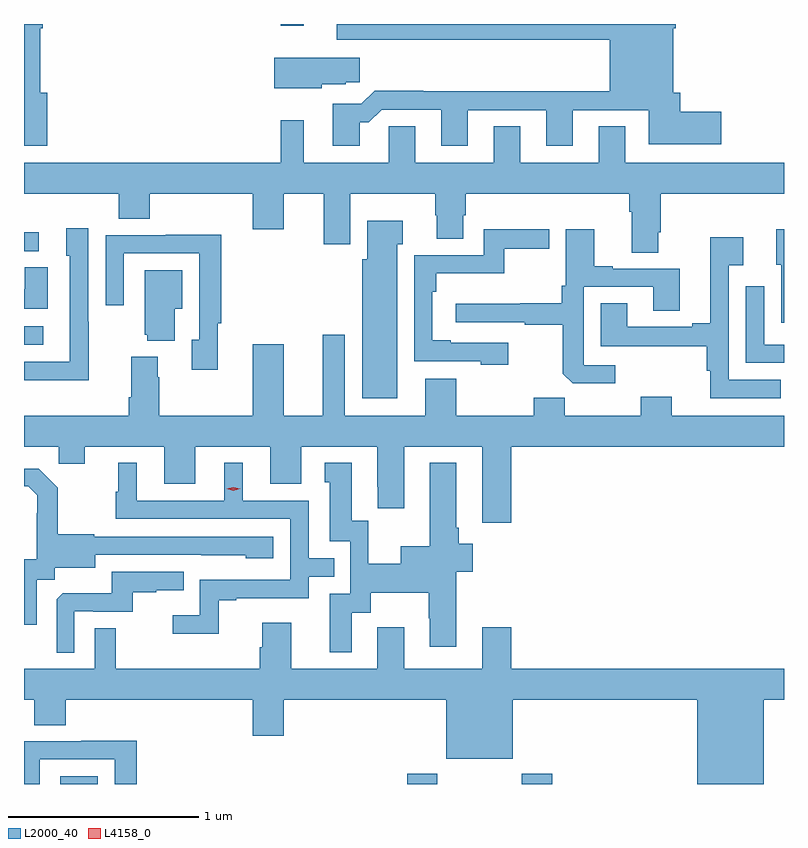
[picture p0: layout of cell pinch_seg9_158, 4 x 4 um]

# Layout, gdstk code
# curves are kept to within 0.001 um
import gdstk
lib = gdstk.Library(unit=1e-6, precision=1e-09)
def R(c, l, rs):  # rectangles x0, y0, x1, y1
    for r in rs: c.add(gdstk.rectangle(r[:2], r[2:], *l))
def P(c, l, *ps):  # polygons
    for p in ps: c.add(gdstk.Polygon(p, *l))
L2000_40 = (2000, 40)
L4158_0 = (4158, 0)

pinch_seg9_158 = lib.new_cell('pinch_seg9_158')
R(pinch_seg9_158, L2000_40, [(715.445,1210.629,715.642,1210.669), (717.269,1210.629,717.429,1210.684), (717.874,1210.629,718.034,1210.684), (715.253,1212.942,715.354,1213.038), (715.253,1213.434,715.33,1213.532), (716.604,1214.619,716.725,1214.629)])
P(pinch_seg9_158, L2000_40, [(717.019,1214.111),(717.068,1214.111),(717.135,1214.178),(717.449,1214.178),(717.449,1213.989),(717.589,1213.989),(717.589,1214.175),(718.001,1214.175),(718.001,1213.989),(718.141,1213.989),(718.141,1214.175),(718.541,1214.175),(718.541,1213.997),(718.924,1213.997),(718.924,1214.168),(718.706,1214.168),(718.706,1214.268),(718.669,1214.268),(718.669,1214.606),(718.682,1214.606),(718.682,1214.629),(716.9,1214.629),(716.9,1214.546),(718.337,1214.546),(718.337,1214.276),(717.353,1214.276),(717.353,1214.279),(717.098,1214.279),(717.027,1214.208),(716.879,1214.208),(716.879,1213.989),(717.019,1213.989)],
  [(715.376,1214.268),(715.339,1214.268),(715.339,1214.606),(715.352,1214.606),(715.352,1214.629),(715.253,1214.629),(715.253,1213.989),(715.376,1213.989)],
  [(716.82,1214.312),(716.946,1214.312),(716.946,1214.323),(717.019,1214.323),(717.019,1214.452),(716.57,1214.452),(716.57,1214.291),(716.82,1214.291)],
  [(718.439,1213.64),(718.451,1213.64),(718.451,1213.426),(718.591,1213.426),(718.591,1213.534),(718.604,1213.534),(718.604,1213.736),(719.253,1213.736),(719.253,1213.9),(718.417,1213.9),(718.417,1214.09),(718.277,1214.09),(718.277,1213.9),(717.865,1213.9),(717.865,1214.09),(717.725,1214.09),(717.725,1213.9),(717.313,1213.9),(717.313,1214.09),(717.174,1214.09),(717.174,1213.9),(716.725,1213.9),(716.725,1214.122),(716.604,1214.122),(716.604,1213.9),(715.253,1213.9),(715.253,1213.736),(715.751,1213.736),(715.751,1213.603),(715.916,1213.603),(715.916,1213.736),(716.456,1213.736),(716.456,1213.548),(716.62,1213.548),(716.62,1213.736),(716.831,1213.736),(716.831,1213.47),(716.971,1213.47),(716.971,1213.736),(717.418,1213.736),(717.418,1213.623),(717.425,1213.623),(717.425,1213.498),(717.565,1213.498),(717.565,1213.623),(717.578,1213.623),(717.578,1213.736),(718.439,1213.736)],
  [(717.217,1213.469),(717.247,1213.469),(717.247,1213.594),(717.059,1213.594),(717.059,1213.392),(717.032,1213.392),(717.032,1212.659),(717.217,1212.659)],
  [(715.593,1213.061),(715.59,1213.061),(715.59,1213.555),(715.475,1213.555),(715.475,1213.41),(715.494,1213.41),(715.494,1212.852),(715.253,1212.852),(715.253,1212.755),(715.593,1212.755)],
  [(717.802,1212.951),(717.499,1212.951),(717.499,1212.964),(717.402,1212.964),(717.402,1213.22),(717.422,1213.22),(717.422,1213.316),(717.781,1213.316),(717.781,1213.447),(718.018,1213.447),(718.018,1213.55),(717.672,1213.55),(717.672,1213.413),(717.306,1213.413),(717.306,1212.855),(717.657,1212.855),(717.657,1212.836),(717.802,1212.836)],
  [(719.253,1213.55),(719.213,1213.55),(719.213,1213.362),(719.238,1213.362),(719.238,1213.056),(719.253,1213.056)],
  [(718.366,1212.834),(718.2,1212.834),(718.2,1213.245),(718.565,1213.245),(718.565,1213.12),(718.705,1213.12),(718.705,1213.341),(718.351,1213.341),(718.351,1213.354),(718.255,1213.354),(718.255,1213.549),(718.104,1213.549),(718.104,1213.252),(718.084,1213.252),(718.084,1213.16),(717.865,1213.16),(717.865,1213.156),(717.525,1213.156),(717.525,1213.059),(717.889,1213.059),(717.889,1213.047),(718.089,1213.047),(718.089,1212.789),(718.141,1212.738),(718.366,1212.738)],
  [(716.273,1213.054),(716.291,1213.054),(716.291,1213.52),(715.999,1213.52),(715.999,1213.518),(715.683,1213.518),(715.683,1213.149),(715.779,1213.149),(715.779,1213.422),(716.175,1213.422),(716.175,1212.966),(716.135,1212.966),(716.135,1212.81),(716.273,1212.81)],
  [(719.235,1212.756),(718.962,1212.756),(718.962,1213.358),(719.038,1213.358),(719.038,1213.507),(718.865,1213.507),(718.865,1213.055),(718.769,1213.055),(718.769,1213.035),(718.429,1213.035),(718.429,1213.16),(718.289,1213.16),(718.289,1212.934),(718.846,1212.934),(718.846,1212.803),(718.865,1212.803),(718.865,1212.66),(719.235,1212.66)],
  [(715.378,1213.349),(715.257,1213.349),(715.257,1213.234),(715.253,1213.234),(715.253,1213.13),(715.378,1213.13)],
  [(716.047,1213.13),(716.086,1213.13),(716.086,1213.333),(715.889,1213.333),(715.889,1212.993),(715.901,1212.993),(715.901,1212.962),(716.047,1212.962)],
  [(719.253,1212.942),(719.148,1212.942),(719.148,1213.249),(719.052,1213.249),(719.052,1212.846),(719.253,1212.846)],
  [(717.818,1212.404),(719.253,1212.404),(719.253,1212.568),(718.663,1212.568),(718.663,1212.667),(718.499,1212.667),(718.499,1212.568),(718.099,1212.568),(718.099,1212.661),(717.935,1212.661),(717.935,1212.568),(717.529,1212.568),(717.529,1212.763),(717.365,1212.763),(717.365,1212.568),(716.941,1212.568),(716.941,1212.994),(716.825,1212.994),(716.825,1212.568),(716.62,1212.568),(716.62,1212.943),(716.456,1212.943),(716.456,1212.568),(715.965,1212.568),(715.965,1212.77),(715.957,1212.77),(715.957,1212.877),(715.817,1212.877),(715.817,1212.664),(715.805,1212.664),(715.805,1212.568),(715.253,1212.568),(715.253,1212.404),(715.435,1212.404),(715.435,1212.314),(715.573,1212.314),(715.573,1212.404),(715.991,1212.404),(715.991,1212.21),(716.155,1212.21),(716.155,1212.404),(716.549,1212.404),(716.549,1212.21),(716.713,1212.21),(716.713,1212.404),(717.113,1212.404),(717.113,1212.193),(717.114,1212.193),(717.114,1212.081),(717.253,1212.081),(717.253,1212.404),(717.665,1212.404),(717.665,1212.003),(717.818,1212.003)],
  [(716.277,1211.595),(716.371,1211.595),(716.371,1211.607),(716.751,1211.607),(716.751,1211.721),(716.885,1211.721),(716.885,1211.817),(716.751,1211.817),(716.751,1212.12),(716.404,1212.12),(716.404,1212.319),(716.306,1212.319),(716.306,1212.12),(715.846,1212.12),(715.846,1212.319),(715.748,1212.319),(715.748,1212.168),(715.737,1212.168),(715.737,1212.024),(716.655,1212.024),(716.655,1211.703),(716.178,1211.703),(716.178,1211.518),(716.037,1211.518),(716.037,1211.42),(716.277,1211.42)],
  [(716.977,1211.53),(717.079,1211.53),(717.079,1211.636),(717.382,1211.636),(717.382,1211.502),(717.389,1211.502),(717.389,1211.352),(717.529,1211.352),(717.529,1211.747),(717.616,1211.747),(717.616,1211.894),(717.542,1211.894),(717.542,1211.977),(717.529,1211.977),(717.529,1212.319),(717.389,1212.319),(717.389,1211.881),(717.236,1211.881),(717.236,1211.788),(717.066,1211.788),(717.066,1212.015),(716.977,1212.015),(716.977,1212.319),(716.837,1212.319),(716.837,1212.216),(716.861,1212.216),(716.861,1211.907),(716.97,1211.907),(716.97,1211.631),(716.861,1211.631),(716.861,1211.322),(716.977,1211.322)],
  [(715.321,1211.704),(715.416,1211.704),(715.416,1211.768),(715.627,1211.768),(715.627,1211.835),(716.421,1211.834),(716.421,1211.816),(716.566,1211.816),(716.566,1211.931),(715.623,1211.931),(715.623,1211.944),(715.431,1211.944),(715.431,1212.189),(715.331,1212.289),(715.253,1212.289),(715.253,1212.195),(715.275,1212.195),(715.322,1212.148),(715.322,1212.053),(715.32,1212.053),(715.32,1211.812),(715.253,1211.812),(715.253,1211.466),(715.321,1211.466)],
  [(715.518,1211.538),(715.618,1211.538),(715.618,1211.535),(715.826,1211.535),(715.826,1211.637),(715.949,1211.637),(715.949,1211.648),(716.093,1211.648),(716.093,1211.745),(715.716,1211.745),(715.716,1211.633),(715.457,1211.633),(715.425,1211.601),(715.425,1211.321),(715.518,1211.321)],
  [(719.146,1211.072),(719.253,1211.072),(719.253,1211.236),(717.818,1211.236),(717.818,1211.455),(717.665,1211.455),(717.665,1211.236),(717.253,1211.236),(717.253,1211.455),(717.113,1211.455),(717.113,1211.236),(716.659,1211.236),(716.659,1211.479),(716.507,1211.479),(716.507,1211.349),(716.495,1211.349),(716.495,1211.236),(715.735,1211.236),(715.735,1211.45),(715.626,1211.45),(715.626,1211.236),(715.253,1211.236),(715.253,1211.072),(715.307,1211.072),(715.307,1210.939),(715.472,1210.939),(715.472,1211.072),(716.456,1211.072),(716.456,1210.884),(716.62,1210.884),(716.62,1211.072),(717.476,1211.072),(717.476,1210.763),(717.826,1210.763),(717.826,1211.072),(718.796,1211.072),(718.796,1210.629),(719.146,1210.629)],
  [(715.335,1210.758),(715.731,1210.758),(715.731,1210.629),(715.847,1210.629),(715.847,1210.856),(715.555,1210.856),(715.555,1210.854),(715.253,1210.854),(715.253,1210.629),(715.335,1210.629)])
P(pinch_seg9_158, L4158_0, [(716.355,1212.172),(716.319,1212.182),(716.319,1212.182),(716.319,1212.182),(716.355,1212.192),(716.391,1212.182),(716.391,1212.182),(716.391,1212.182)])

lib.write_gds('pinch_seg9_158.gds')
